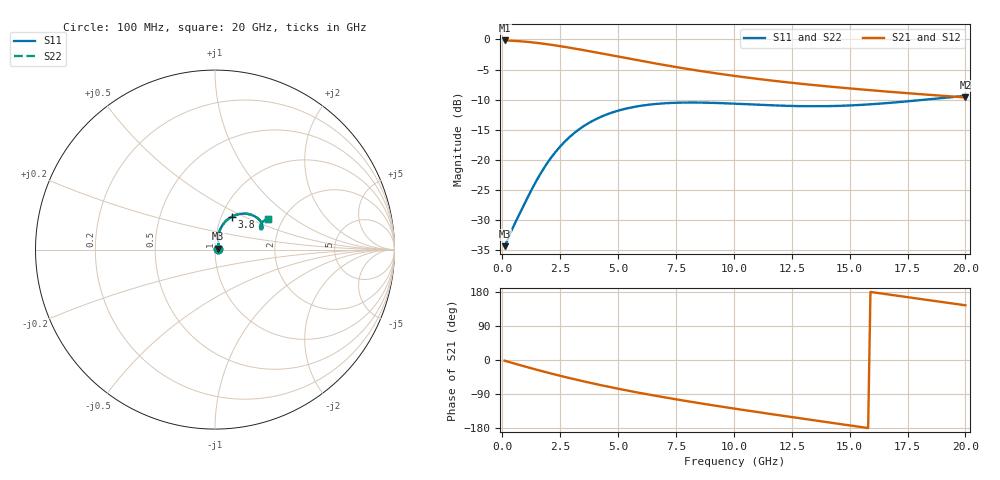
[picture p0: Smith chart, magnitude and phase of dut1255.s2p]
! Touchstone file exported from HFSS 2024.1.0
!  File:  C:/UserFiles/LocalFiles/RDL_TSV_Batchsim/temp_RDL_TSV_1255_1780270536.aedt
!  Generated:  07:50:23 AM Jun  1, 2026
!  Design:  RDL_TSV
!  Project:  temp_RDL_TSV_1255_1780270536
!  Setup:  Setup1
!  Solution:  Sweep
! Variables:
!  dtsv = 7.25um
!  hbump = 3um
!  htsv = 82.15um
!  ldown = 241.54um
!  lrdl = 579.62um
!  p = 40
!  p1 = 49.9um
!  rhole = 10um
!  subl = 3043.1um
!  t = 450um
!  tdown = 4.17um
!  trdl = 2.78um
!  viad = 10um
!  wdown = 15.55um
!  wrdl = 22.19um
!  xbump = 18um
# GHz S MA R 50.000000
! Terminal data exported
! Port[1] = TM1_1_T1
! Port[2] = TM1_4_T1
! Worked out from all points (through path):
!   200 points, 100 MHz to 20 GHz, reference 50 ohm
!   highest |S21| = -0.16 dB at 100 MHz (marker M1); lowest = -9.6 dB at 20 GHz (marker M2)
!   group delay of S21, straight-line fit = 28.3 ps
!   lowest |S11| = -34.4 dB at 100 MHz (marker M3), VSWR 1.04, Z = 51.9 + j0.472 ohm
!   |S11| at or under -10 dB: start of sweep to 18.31 GHz
!   |S22| runs from -34.4 to -9.4 dB; largest |S21 - S12| = 1e-14
!   S11 on the Smith chart (normalised r, x): 100 MHz: 1.04, +0.01; 3.8 GHz: 1.12, +0.43; 20 GHz: 1.68, +0.64
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0.1  0.01904 13.8  0.9813 -1.8  0.9813 -1.8  0.01904 13.8
! Gamma 0 0 0 0
! Port Impedance 50 0 50 0
0.5  0.02828 45.5  0.974 -8.9  0.974 -8.9  0.02828 45.5
0.9  0.04069 62.5  0.9621 -15.9  0.9621 -15.9  0.04068 62.5
1.4  0.06287 73.5  0.9413 -24.3  0.9413 -24.3  0.06287 73.6
1.9  0.09107 76.5  0.9154 -32.4  0.9154 -32.4  0.09108 76.6
2.3  0.1159 75.6  0.8921 -38.6  0.8921 -38.6  0.116 75.7
2.7  0.1413 73.1  0.8674 -44.7  0.8674 -44.7  0.1413 73.2
3.5  0.1891 66.0  0.8159 -56.2  0.8159 -56.2  0.1892 66.1
3.8  0.2051 63.1  0.7964 -60.3  0.7964 -60.3  0.2052 63.1
4.4  0.2331 57.2  0.758 -68.2  0.758 -68.2  0.2333 57.3
5.1  0.2586 50.8  0.7149 -77.0  0.7149 -77.0  0.2589 50.8
5.9  0.279 44.2  0.669 -86.4  0.669 -86.4  0.2794 44.2
6.8  0.2924 37.9  0.6222 -96.4  0.6222 -96.4  0.2929 37.9
7.6  0.2977 33.3  0.5853 -104.8  0.5853 -104.8  0.2984 33.4
8.4  0.2986 29.7  0.5526 -112.8  0.5526 -112.8  0.2993 29.8
10.1  0.2918 25.0  0.4952 -129.0  0.4952 -129.0  0.2927 25.0
11.7  0.2828 23.7  0.4534 -143.5  0.4534 -143.5  0.2838 23.7
13.4  0.2781 24.9  0.4183 -158.6  0.4183 -158.6  0.2791 24.8
15  0.2822 27.2  0.3914 -172.6  0.3914 -172.6  0.2831 27.0
16.7  0.2963 29.4  0.3673 172.7  0.3673 172.7  0.297 29.2
18.4  0.3174 30.4  0.3465 158.0  0.3465 158.0  0.3178 30.1
20  0.3394 30.0  0.3293 144.4  0.3293 144.4  0.3396 29.7
